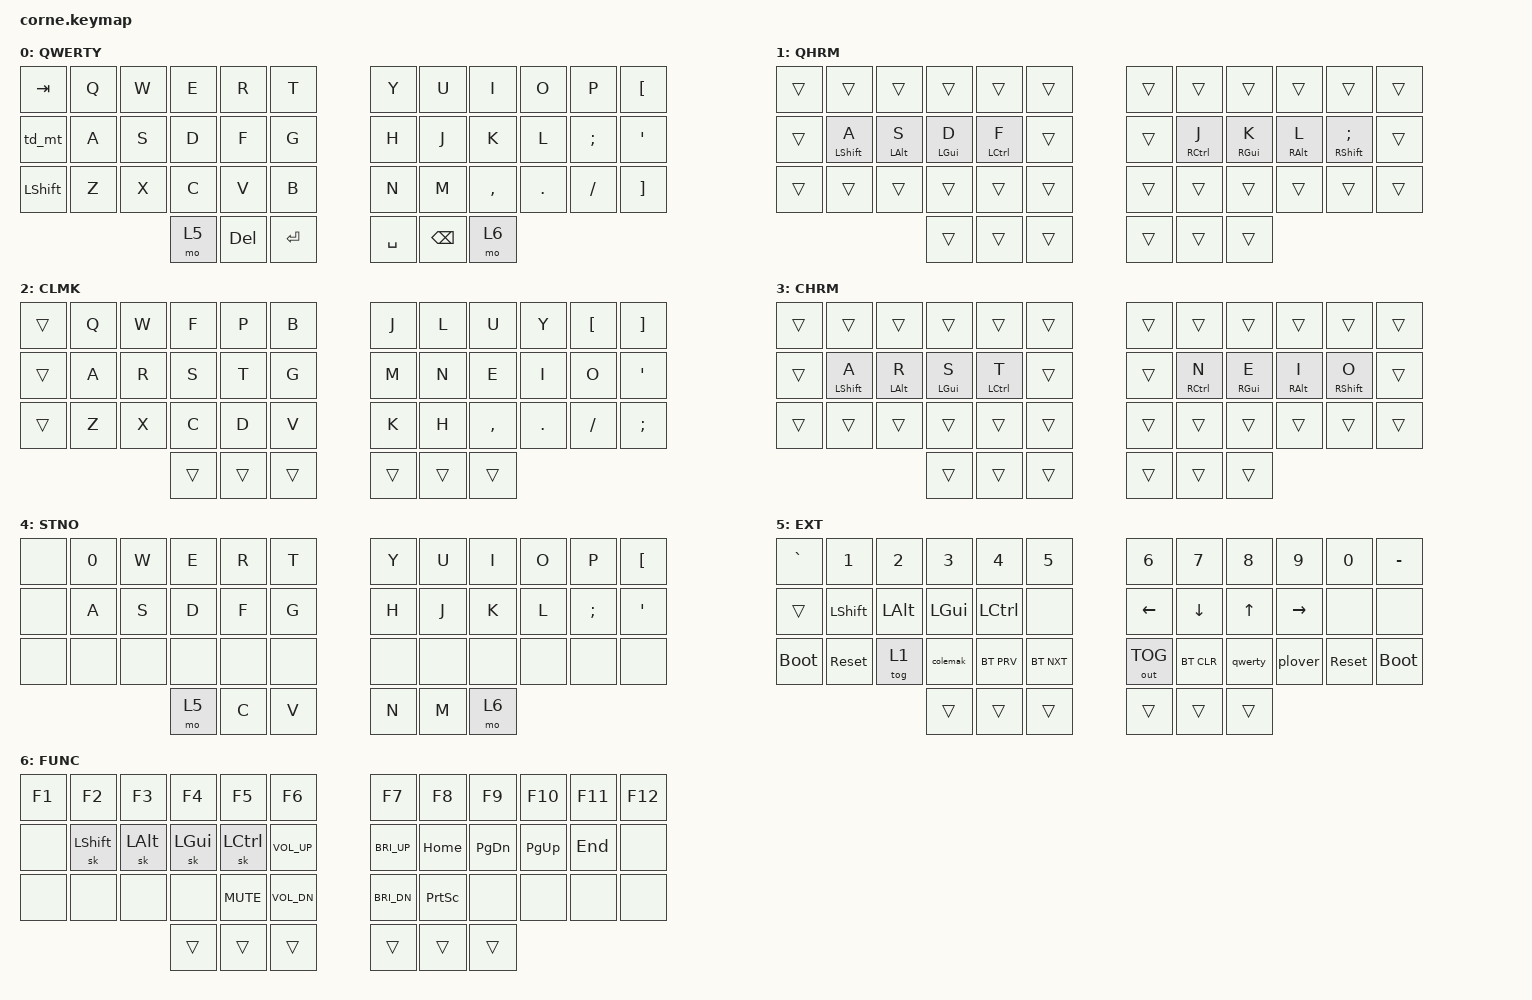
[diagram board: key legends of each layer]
/*
 * Copyright (c) 2020 The ZMK Contributors
 *
 * SPDX-License-Identifier: MIT
 */

#include <behaviors.dtsi>
#include <dt-bindings/zmk/bt.h>
#include <dt-bindings/zmk/keys.h>
#include <dt-bindings/zmk/outputs.h>
#include "zmk-helpers/key-labels/42.h"                                      // Source key-labels.

#define KEYS_L LT0 LT1 LT2 LT3 LT4 LT5 LM0 LM1 LM2 LM3 LM4 LM5 LB0 LB1 LB2 LB3 LB4 LB5  // Left-hand keys.
#define KEYS_R RT0 RT1 RT2 RT3 RT4 RT5 RM0 RM1 RM2 RM3 RM4 RM5 RB0 RB1 RB2 RB3 RB4 RB5  // Right-hand keys.
#define THUMBS LH2 LH1 LH0 RH0 RH1 RH2                                      // Thumb keys.
#define QWERTY	    0
#define QWERTY_HRM  1
#define COLEMAK_DH  2
#define COLEMAK_HRM 3
#define STENO	    4
#define EXTENDED    5
#define FUNCTION    6
#define HRM_ENABLED 7

&sk { lazy; };

/ {
    behaviors {
        hml: home_row_mod_left {
            compatible = "zmk,behavior-hold-tap";
            #binding-cells = <2>;
            flavor = "balanced";
            require-prior-idle-ms = <150>;
            tapping-term-ms = <280>;
            quick-tap-ms = <175>;
            bindings = <&kp>, <&kp>;

            hold-trigger-key-positions = <KEYS_R THUMBS>; // List of keys on the right side of the keyboard
            hold-trigger-on-release;
        };

        hmr: home_row_mod_right {
            compatible = "zmk,behavior-hold-tap";
            #binding-cells = <2>;
            flavor = "balanced";
            require-prior-idle-ms = <150>;
            tapping-term-ms = <280>;
            quick-tap-ms = <175>;
            bindings = <&kp>, <&kp>;

            hold-trigger-key-positions = <KEYS_L THUMBS>; // List of keys on the left side of the keyboard
            hold-trigger-on-release;
        };

        tog_on: toggle_layer_on_only {
            compatible = "zmk,behavior-toggle-layer";
            #binding-cells = <1>;
            display-name = "Toggle Layer On";
            toggle-mode = "on";
        };

        tog_off: toggle_layer_off_only {
            compatible = "zmk,behavior-toggle-layer";
            #binding-cells = <1>;
            display-name = "Toggle Layer Off";
            toggle-mode = "off";
        };

        td_mt: td_mt {
            compatible = "zmk,behavior-tap-dance";
            label = "TD_MT";
            #binding-cells = <0>;
            bindings = <&mt LCTRL ESC>, <&kp CAPS>;
        };
    };

    macros {
        plover: plover_toggle {
            compatible = "zmk,behavior-macro";
            #binding-cells = <0>;
            bindings =
                <&macro_press>,
                <&kp E &kp R &kp F &kp V &kp O &kp L>,
                <&macro_tap>,
                <&tog 4>,
                <&macro_release>,
                <&kp E &kp R &kp F &kp V &kp O &kp L>;
        };

        qwerty: qwerty_select {
            compatible = "zmk,behavior-macro";
            #binding-cells = <0>;
            bindings = <&tog_off 2 &tog_off 4>;
        };

        colemak: colemak_dh_select {
            compatible = "zmk,behavior-macro";
            #binding-cells = <0>;
            bindings = <&tog_off 4 &tog_on 2>;
        };
    };

    conditional_layers {
        compatible = "zmk,conditional-layers";

        enable_hrm_colemak_dh {
            if-layers = <1 2>;
            then-layer = <3>;
        };
    };

    keymap {
        compatible = "zmk,keymap";

        default_layer {
            display-name = "QWERTY";
            bindings = <
&kp TAB     &kp Q  &kp W  &kp E  &kp R    &kp T      &kp Y      &kp U     &kp I      &kp O    &kp P     &kp LBKT
&td_mt      &kp A  &kp S  &kp D  &kp F    &kp G      &kp H      &kp J     &kp K      &kp L    &kp SEMI  &kp SQT
&kp LSHIFT  &kp Z  &kp X  &kp C  &kp V    &kp B      &kp N      &kp M     &kp COMMA  &kp DOT  &kp FSLH  &kp RBKT
                          &mo 5  &kp DEL  &kp RET    &kp SPACE  &kp BSPC  &mo 6
            >;
        };

        qwerty_hrm {
            display-name = "QHRM";
            bindings = <
&trans  &trans         &trans       &trans       &trans        &trans    &trans  &trans        &trans       &trans       &trans            &trans
&trans  &hml LSHIFT A  &hml LALT S  &hml LGUI D  &hml LCTRL F  &trans    &trans  &hmr RCTRL J  &hmr RGUI K  &hmr RALT L  &hmr RSHIFT SEMI  &trans
&trans  &trans         &trans       &trans       &trans        &trans    &trans  &trans        &trans       &trans       &trans            &trans
                                    &trans       &trans        &trans    &trans  &trans        &trans
            >;
        };

        colemak_dh {
            display-name = "CLMK";
            bindings = <
&trans  &kp Q  &kp W  &kp F   &kp P   &kp B     &kp J   &kp L   &kp U      &kp Y    &kp LBKT  &kp RBKT
&trans  &kp A  &kp R  &kp S   &kp T   &kp G     &kp M   &kp N   &kp E      &kp I    &kp O     &kp APOS
&trans  &kp Z  &kp X  &kp C   &kp D   &kp V     &kp K   &kp H   &kp COMMA  &kp DOT  &kp FSLH  &kp SEMI
                      &trans  &trans  &trans    &trans  &trans  &trans
            >;
        };

        colemak_dh_hrm {
            display-name = "CHRM";
            bindings = <
&trans  &trans         &trans       &trans       &trans        &trans    &trans  &trans        &trans       &trans       &trans         &trans
&trans  &hml LSHIFT A  &hml LALT R  &hml LGUI S  &hml LCTRL T  &trans    &trans  &hmr RCTRL N  &hmr RGUI E  &hmr RALT I  &hmr RSHIFT O  &trans
&trans  &trans         &trans       &trans       &trans        &trans    &trans  &trans        &trans       &trans       &trans         &trans
                                    &trans       &trans        &trans    &trans  &trans        &trans
            >;
        };

        steno_layer {
            display-name = "STNO";
            bindings = <
&none  &kp N0  &kp W  &kp E  &kp R  &kp T    &kp Y  &kp U  &kp I  &kp O  &kp P     &kp LBKT
&none  &kp A   &kp S  &kp D  &kp F  &kp G    &kp H  &kp J  &kp K  &kp L  &kp SEMI  &kp SQT
&none  &none   &none  &none  &none  &none    &none  &none  &none  &none  &none     &none
                      &mo 5  &kp C  &kp V    &kp N  &kp M  &mo 6
            >;
        };

        extended_layer {
            display-name = "EXT";
            bindings = <
&kp GRAVE    &kp N1      &kp N2    &kp N3    &kp N4      &kp N5        &kp N6        &kp N7      &kp N8   &kp N9     &kp N0      &kp MINUS
&trans       &kp LSHIFT  &kp LALT  &kp LGUI  &kp LCTRL   &none         &kp LEFT      &kp DOWN    &kp UP   &kp RIGHT  &none       &none
&bootloader  &sys_reset  &tog 1    &colemak  &bt BT_PRV  &bt BT_NXT    &out OUT_TOG  &bt BT_CLR  &qwerty  &plover    &sys_reset  &bootloader
                                   &trans    &trans      &trans        &trans        &trans      &trans
            >;
        };

        function_layer {
            display-name = "FUNC";
            bindings = <
&kp F1  &kp F2      &kp F3    &kp F4    &kp F5      &kp F6          &kp F7        &kp F8     &kp F9     &kp F10    &kp F11  &kp F12
&none   &sk LSHIFT  &sk LALT  &sk LGUI  &sk LCTRL   &kp C_VOL_UP    &kp C_BRI_UP  &kp HOME   &kp PG_DN  &kp PG_UP  &kp END  &none
&none   &none       &none     &none     &kp C_MUTE  &kp C_VOL_DN    &kp C_BRI_DN  &kp PSCRN  &none      &none      &none    &none
                              &trans    &trans      &trans          &trans        &trans     &trans
            >;
        };
    };
};
